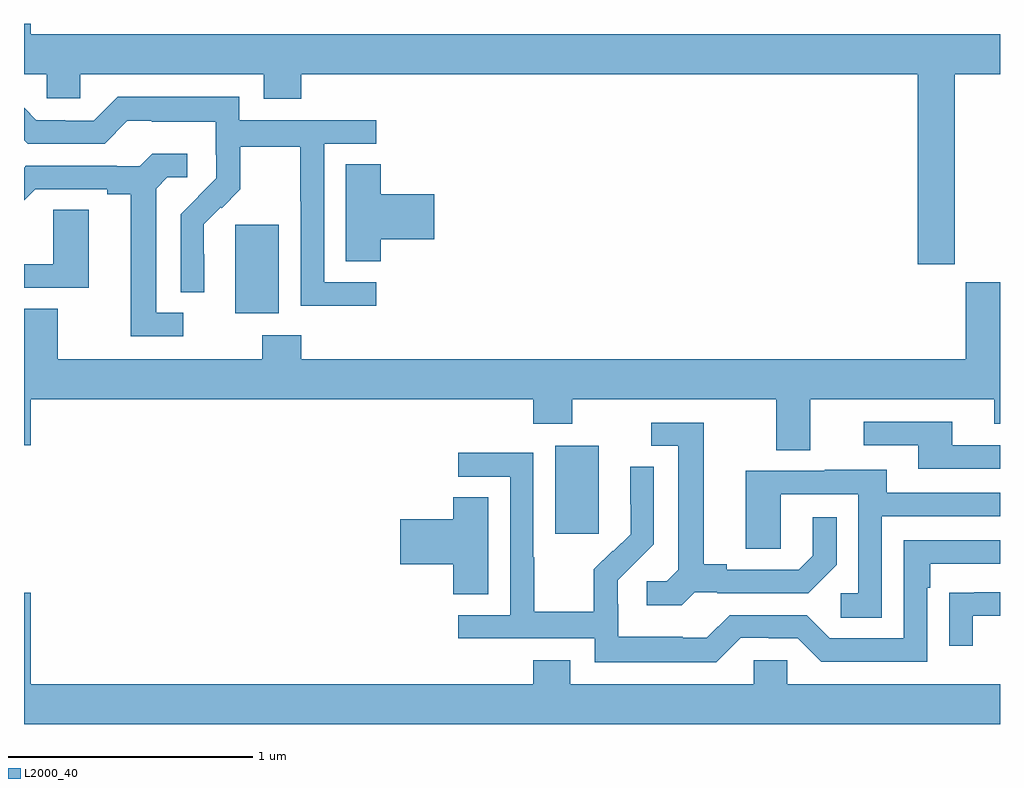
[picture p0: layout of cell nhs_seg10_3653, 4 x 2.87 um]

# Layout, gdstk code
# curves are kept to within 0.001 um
import gdstk
lib = gdstk.Library(unit=1e-6, precision=1e-09)
def R(c, l, rs):  # rectangles x0, y0, x1, y1
    for r in rs: c.add(gdstk.rectangle(r[:2], r[2:], *l))
def P(c, l, *ps):  # polygons
    for p in ps: c.add(gdstk.Polygon(p, *l))
L2000_40 = (2000, 40)

nhs_seg10_3653 = lib.new_cell('nhs_seg10_3653')
R(nhs_seg10_3653, L2000_40, [(311.177,1322.409,311.356,1322.77), (309.866,1323.314,310.045,1323.675)])
P(nhs_seg10_3653, L2000_40, [(312.814,1324.292),(313,1324.292),(313,1324.456),(309.028,1324.456),(309.028,1324.5),(309,1324.5),(309,1324.292),(309.093,1324.292),(309.093,1324.194),(309.231,1324.194),(309.231,1324.292),(309.983,1324.292),(309.983,1324.193),(310.136,1324.193),(310.136,1324.292),(312.662,1324.292),(312.662,1323.513),(312.814,1323.513)],
  [(310.444,1323.441),(310.23,1323.441),(310.23,1324.008),(310.444,1324.008),(310.444,1324.104),(309.882,1324.104),(309.882,1324.201),(309.385,1324.201),(309.285,1324.101),(309.17,1324.101),(309.17,1324.104),(309.051,1324.104),(309,1324.155),(309,1324.023),(309.015,1324.008),(309.33,1324.008),(309.423,1324.101),(309.523,1324.101),(309.523,1324.097),(309.786,1324.097),(309.786,1323.963),(309.788,1323.963),(309.788,1323.866),(309.642,1323.718),(309.642,1323.4),(309.738,1323.4),(309.737,1323.677),(309.807,1323.747),(309.81,1323.744),(309.887,1323.821),(309.887,1323.996),(310.132,1323.996),(310.132,1323.772),(310.134,1323.772),(310.134,1323.343),(310.444,1323.343)],
  [(309.652,1323.315),(309.541,1323.315),(309.541,1323.823),(309.588,1323.87),(309.67,1323.87),(309.67,1323.967),(309.526,1323.967),(309.474,1323.915),(309.38,1323.915),(309.38,1323.918),(309.008,1323.918),(309,1323.91),(309,1323.776),(309.046,1323.822),(309.341,1323.822),(309.341,1323.8),(309.437,1323.8),(309.437,1323.219),(309.652,1323.219)],
  [(310.463,1323.617),(310.681,1323.617),(310.681,1323.8),(310.463,1323.8),(310.463,1323.923),(310.319,1323.923),(310.319,1323.526),(310.463,1323.526)],
  [(309.265,1323.737),(309.12,1323.737),(309.12,1323.513),(309,1323.513),(309,1323.417),(309.265,1323.417)],
  [(312.223,1322.96),(312.977,1322.96),(312.977,1322.861),(313,1322.861),(313,1323.441),(312.86,1323.441),(312.86,1323.124),(310.136,1323.124),(310.136,1323.223),(309.976,1323.223),(309.976,1323.124),(309.139,1323.124),(309.139,1323.332),(309,1323.332),(309,1322.772),(309.028,1322.772),(309.028,1322.96),(311.087,1322.96),(311.087,1322.861),(311.247,1322.861),(311.247,1322.96),(312.083,1322.96),(312.083,1322.752),(312.223,1322.752)],
  [(313,1322.772),(312.805,1322.772),(312.805,1322.868),(312.441,1322.868),(312.441,1322.772),(312.665,1322.772),(312.665,1322.676),(313,1322.676)],
  [(311.748,1322.169),(311.842,1322.169),(311.842,1322.166),(312.214,1322.166),(312.33,1322.282),(312.33,1322.476),(312.233,1322.476),(312.233,1322.319),(312.176,1322.262),(311.881,1322.262),(311.881,1322.285),(311.785,1322.285),(311.785,1322.865),(311.571,1322.865),(311.571,1322.769),(311.681,1322.769),(311.681,1322.261),(311.634,1322.214),(311.553,1322.214),(311.553,1322.117),(311.696,1322.117)],
  [(311.937,1321.983),(312.053,1321.983),(312.053,1321.98),(312.171,1321.98),(312.267,1321.884),(312.702,1321.884),(312.702,1322.189),(312.715,1322.189),(312.715,1322.286),(313,1322.286),(313,1322.382),(312.606,1322.382),(312.606,1321.98),(312.303,1321.98),(312.207,1322.076),(311.892,1322.076),(311.799,1321.983),(311.699,1321.983),(311.699,1321.987),(311.436,1321.987),(311.436,1322.121),(311.434,1322.121),(311.434,1322.218),(311.58,1322.366),(311.58,1322.684),(311.484,1322.684),(311.484,1322.53),(311.486,1322.53),(311.486,1322.408),(311.415,1322.337),(311.412,1322.34),(311.335,1322.263),(311.335,1322.089),(311.091,1322.089),(311.091,1322.312),(311.088,1322.312),(311.088,1322.742),(310.779,1322.742),(310.779,1322.643),(310.992,1322.643),(310.992,1322.076),(310.779,1322.076),(310.779,1321.98),(311.34,1321.98),(311.34,1321.883),(311.837,1321.883)],
  [(312.516,1322.481),(313,1322.481),(313,1322.577),(312.535,1322.577),(312.535,1322.671),(312.281,1322.671),(312.281,1322.667),(311.957,1322.667),(311.957,1322.347),(312.102,1322.347),(312.102,1322.571),(312.42,1322.571),(312.42,1322.166),(312.348,1322.166),(312.348,1322.065),(312.516,1322.065)],
  [(310.903,1322.558),(310.76,1322.558),(310.76,1322.468),(310.542,1322.468),(310.542,1322.285),(310.76,1322.285),(310.76,1322.161),(310.903,1322.161)],
  [(312.889,1322.073),(313,1322.073),(313,1322.169),(312.895,1322.169),(312.895,1322.168),(312.793,1322.168),(312.793,1321.95),(312.889,1321.95)],
  [(313,1321.792),(312.129,1321.792),(312.129,1321.89),(311.991,1321.89),(311.991,1321.792),(311.239,1321.792),(311.239,1321.891),(311.087,1321.891),(311.087,1321.792),(309.028,1321.792),(309.028,1322.167),(309,1322.167),(309,1321.628),(313,1321.628)])

lib.write_gds('nhs_seg10_3653.gds')
